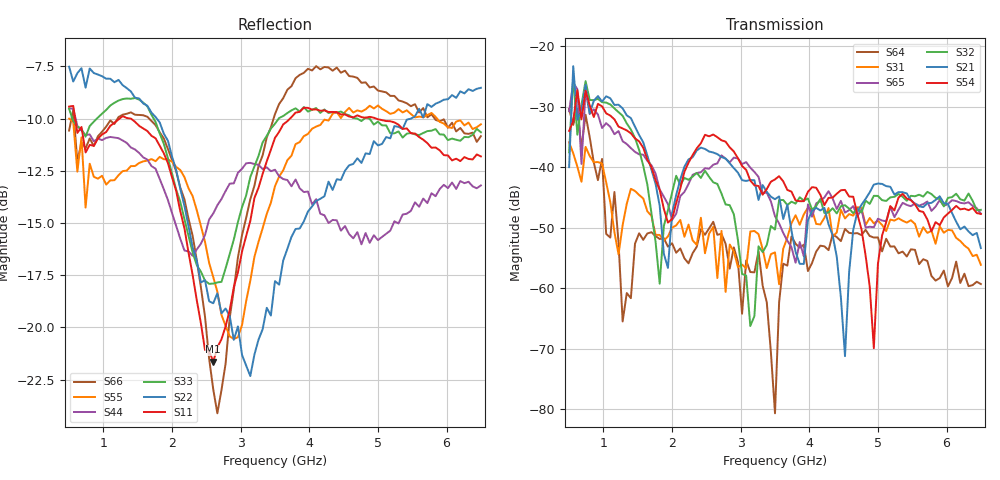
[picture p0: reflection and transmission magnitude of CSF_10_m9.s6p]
!Keysight Technologies,M9804A,MY58100912,A.14.10.03
!Date: Thursday, April 27, 2023 10:28:33
!Correction: S11(C  6-Port  )
!S12(C  6-Port  )
!S13(C  6-Port  )
!S14(C  6-Port  )
!S15(C  6-Port  )
!S16(C  6-Port  )
!S21(C  6-Port  )
!S22(C  6-Port  )
!S23(C  6-Port  )
!S24(C  6-Port  )
!S25(C  6-Port  )
!S26(C  6-Port  )
!S31(C  6-Port  )
!S32(C  6-Port  )
!S33(C  6-Port  )
!S34(C  6-Port  )
!S35(C  6-Port  )
!S36(C  6-Port  )
!S41(C  6-Port  )
!S42(C  6-Port  )
!S43(C  6-Port  )
!S44(C  6-Port  )
!S45(C  6-Port  )
!S46(C  6-Port  )
!S51(C  6-Port  )
!S52(C  6-Port  )
!S53(C  6-Port  )
!S54(C  6-Port  )
!S55(C  6-Port  )
!S56(C  6-Port  )
!S61(C  6-Port  )
!S62(C  6-Port  )
!S63(C  6-Port  )
!S64(C  6-Port  )
!S65(C  6-Port  )
!S66(C  6-Port  )
!S6P File: Measurement: :
# Hz S  RI  R 50
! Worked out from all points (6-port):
!   101 points, 500 MHz to 6.5 GHz, reference 50 ohm
!   strongest paths, dB at 500 MHz, 2 GHz, 3.5 GHz, 5 GHz, 6.5 GHz:
!     S54: -34.0, -48.6, -42.0, -56.0, -47.7
!     S21: -40.0, -47.7, -45.3, -42.7, -53.4
!     S32: -37.6, -44.3, -50.3, -44.8, -47.1
!     S65: -30.8, -48.7, -48.1, -48.5, -47.7
!     S31: -35.9, -50.0, -54.1, -48.9, -56.2
!     S64: -30.4, -52.6, -80.7, -51.6, -59.3
!   lowest |S11| = -21.6 dB at 2.6 GHz (marker M1), VSWR 1.18, Z = 42.6 + j2.06 ohm
!   |S11| at or under -10 dB: 588.2 MHz to 1.235 GHz (647 MHz wide, 71 % of centre); 1.4 GHz to 3.718 GHz (2.318 GHz wide, 90.6 % of centre); 4.976 GHz to end of sweep
